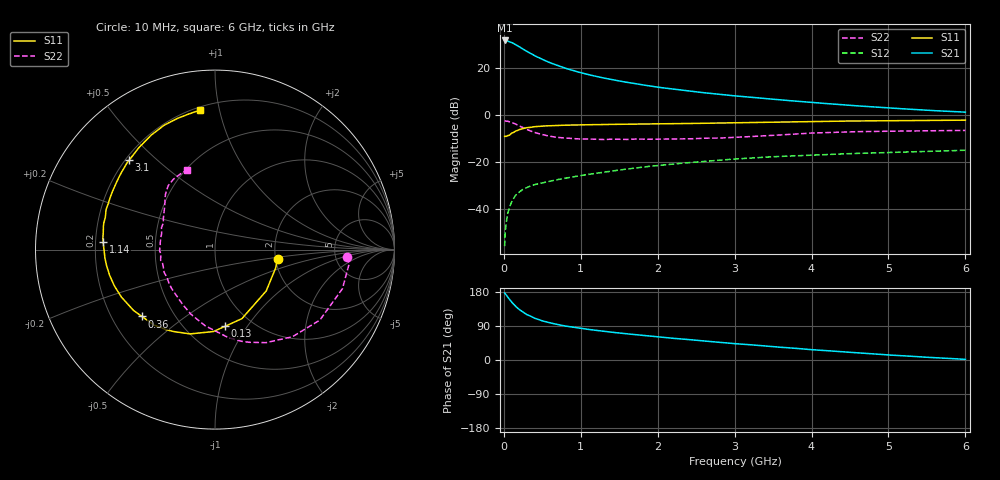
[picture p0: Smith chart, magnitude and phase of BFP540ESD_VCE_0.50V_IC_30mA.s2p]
! Infineon Technologies  Discrete & RF Semiconductors
! BFP540ESD
! VCE = 0.50 V,  IC =  30 mA
! Common Emitter S-Parameters:  Nov 2015
# GHz  S  MA  R  50
!  f  S11  S21  S12  S22
! GHz  MAG  ANG  MAG  ANG  MAG  ANG  MAG  ANG
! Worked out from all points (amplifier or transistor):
!   210 points, 10 MHz to 6 GHz, reference 50 ohm
!   highest |S21| = 31.9 dB at 10 MHz (marker M1)
!   |S21| within 3 dB of that: start of sweep to 216.8 MHz
!   unconditionally stable (mu >= 1): start of sweep to 30.82 MHz; 1.281 GHz to end of sweep
!   at 185 MHz: K = 0.41, MSG = 31.4 dB, |S12| = -33.3 dB
!   at 1.52 GHz: K = 1.05, MAG = 17.6 dB, |S12| = -23.4 dB
!   at 6 GHz: K = 1.20, MAG = 5.5 dB, |S12| = -15.0 dB
!   S11 on the Smith chart (normalised r, x): 10 MHz: 2.05, -0.23; 130 MHz: 0.76, -0.79; 360 MHz: 0.33, -0.35; 1.14 GHz: 0.23, +0.03; 3.1 GHz: 0.21, +0.41; 6 GHz: 0.22, +0.87
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0.01  0.352 -8.1  39.16 177.1  0.0016 105.2  0.738 -3.2
0.05  0.3667 -38.9  37.98 166.0  0.0079 83.5  0.7427 -17.0
0.1  0.4129 -68.7  35.63 153.0  0.0139 71.1  0.7041 -33.9
0.13  0.4313 -82.7  33.37 146.6  0.0171 66.8  0.666 -42.3
0.15  0.4567 -91.1  32.12 141.9  0.0193 64.7  0.6493 -48.4
0.2  0.4899 -106.5  28.9 133.3  0.0228 60.4  0.5911 -61.3
0.26  0.5222 -121.2  25 124.6  0.0268 54.5  0.5312 -74.0
0.3  0.5403 -129.0  22.86 119.7  0.0286 52.3  0.4948 -81.6
0.36  0.5519 -137.6  20.18 114.5  0.0312 50.8  0.4505 -90.5
0.4  0.5663 -143.1  18.52 110.2  0.0329 50.0  0.428 -97.3
0.5  0.5847 -153.1  15.42 103.2  0.0358 48.4  0.3843 -110.4
0.6  0.5961 -160.2  13.09 97.9  0.0389 48.1  0.3541 -120.8
0.7  0.6042 -166.2  11.41 93.4  0.0421 48.5  0.3345 -129.7
0.8  0.6102 -171.3  10 89.6  0.0451 48.1  0.3251 -137.9
1.02  0.6189 179.8  7.89 82.9  0.0521 48.8  0.3093 -151.6
1.14  0.6248 176.1  7.062 79.7  0.0557 48.6  0.3082 -157.6
1.5  0.6371 166.5  5.332 71.2  0.0672 48.2  0.3053 -172.2
2.02  0.6508 154.6  3.908 60.6  0.0845 45.4  0.3077 172.8
3.1  0.6906 133.8  2.494 41.8  0.1182 36.3  0.3417 146.9
4.1  0.733 117.7  1.812 26.0  0.1419 26.0  0.4193 130.6
5.1  0.7616 105.1  1.392 12.2  0.1609 16.7  0.4561 119.7
6  0.7809 96.3  1.157 1.7  0.1781 9.7  0.4714 109.5
